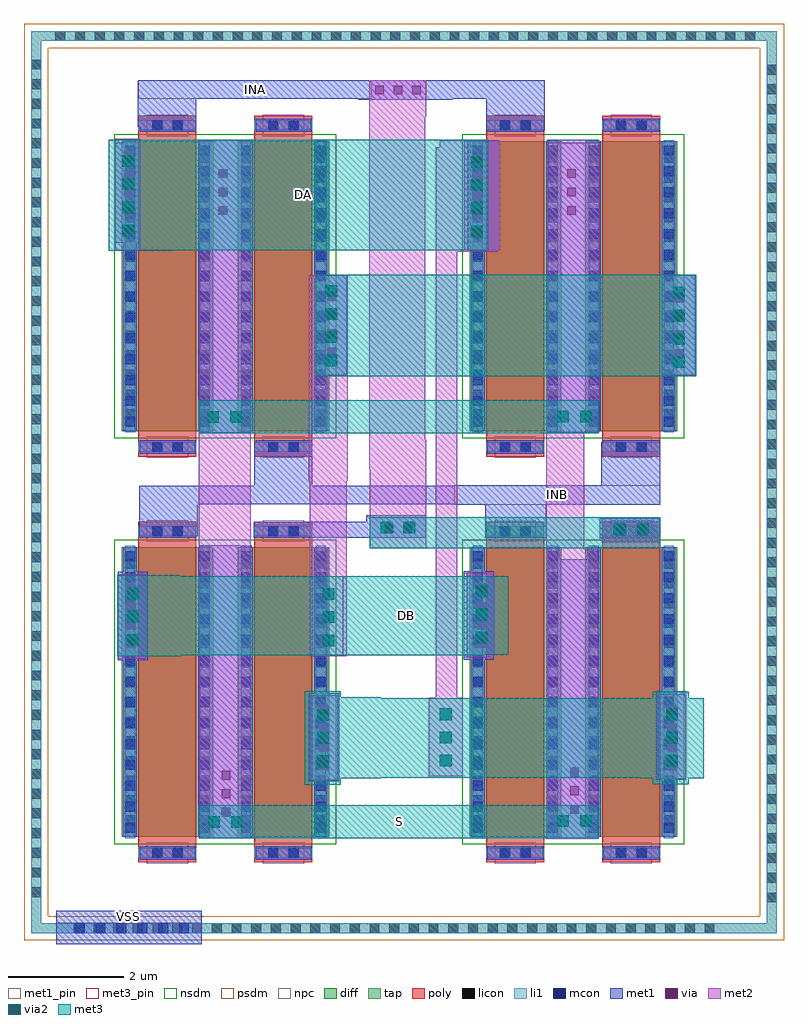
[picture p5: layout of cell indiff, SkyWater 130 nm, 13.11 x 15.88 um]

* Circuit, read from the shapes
.subckt indiff DA DB INA INB S VSS
XM1 S INB DB VSS sky130_fd_pr__nfet_01v8 w=5 l=1 m=4
XM2 S INA DA VSS sky130_fd_pr__nfet_01v8 w=5 l=1 m=4
.ends

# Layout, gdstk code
import gdstk
lib = gdstk.Library(unit=1e-6, precision=1e-09)
def R(c, l, rs):  # rectangles x0, y0, x1, y1
    for r in rs: c.add(gdstk.rectangle(r[:2], r[2:], *l))
def A(c, l, x, y, w, h, nx, ny, dx, dy):  # array of equal rectangles
    R(c, l, [(x+i*dx, y+j*dy, x+i*dx+w, y+j*dy+h) for i in range(nx) for j in range(ny)])
diff = (65, 20)
tap = (65, 44)
poly = (66, 20)
licon = (66, 44)
li1 = (67, 20)
mcon = (67, 44)
met1_pin = (68, 16)
met1 = (68, 20)
via = (68, 44)
met2 = (69, 20)
via2 = (69, 44)
met3_pin = (70, 16)
met3 = (70, 20)
nsdm = (93, 44)
psdm = (94, 20)
npc = (95, 20)

sky130_fd_pr__nfet_01v8_ = lib.new_cell('sky130_fd_pr__nfet_01v8_U654K6')
R(sky130_fd_pr__nfet_01v8_, diff, [(-0.79,-2.5,0.79,2.5)])
R(sky130_fd_pr__nfet_01v8_, poly, [(-0.5,-2.94,0.5,2.94)])
A(sky130_fd_pr__nfet_01v8_, licon, -0.73, -2.295, 0.17, 0.17, 1, 14, 0, 0.34)
A(sky130_fd_pr__nfet_01v8_, licon, 0.56, -2.295, 0.17, 0.17, 1, 14, 0, 0.34)
R(sky130_fd_pr__nfet_01v8_, licon, [(-0.255,-2.86,-0.085,-2.69), (0.085,-2.86,0.255,-2.69), (-0.255,2.69,-0.085,2.86), (0.085,2.69,0.255,2.86)])
R(sky130_fd_pr__nfet_01v8_, li1, [(-0.5,-2.86,0.5,-2.69), (-0.73,-2.52,-0.56,2.52), (0.56,-2.52,0.73,2.52), (-0.5,2.69,0.5,2.86)])
A(sky130_fd_pr__nfet_01v8_, mcon, -0.73, -2.425, 0.17, 0.17, 1, 14, 0, 0.36)
A(sky130_fd_pr__nfet_01v8_, mcon, 0.56, -2.425, 0.17, 0.17, 1, 14, 0, 0.36)
R(sky130_fd_pr__nfet_01v8_, mcon, [(-0.265,-2.86,-0.095,-2.69), (0.095,-2.86,0.265,-2.69), (-0.265,2.69,-0.095,2.86), (0.095,2.69,0.265,2.86)])
R(sky130_fd_pr__nfet_01v8_, met1, [(-0.48,-2.89,0.48,-2.66), (-0.76,-2.5,-0.53,2.5), (0.53,-2.5,0.76,2.5), (-0.48,2.66,0.48,2.89)])
R(sky130_fd_pr__nfet_01v8_, nsdm, [(-0.915,-2.625,0.915,2.625)])
R(sky130_fd_pr__nfet_01v8_, npc, [(-0.355,-2.96,0.355,-2.59), (-0.355,2.59,0.355,2.96)])

indiff = lib.new_cell('indiff')
R(indiff, tap, [(-1.56,-1.22,11.3,-1.05), (-1.56,-1.05,-1.39,14.17), (11.13,-1.05,11.3,14.17), (-1.56,14.17,11.3,14.34)])
A(indiff, licon, -0.825, -1.22, 0.17, 0.17, 33, 1, 0.34, 0)
A(indiff, licon, 11.13, -0.69, 0.17, 0.17, 1, 43, 0, 0.34)
A(indiff, licon, -1.56, -0.6, 0.17, 0.17, 1, 43, 0, 0.34)
A(indiff, licon, -1.145, 14.17, 0.17, 0.17, 36, 1, 0.34, 0)
R(indiff, li1, [(-1.56,-1.22,11.3,-1.05), (-1.56,-1.05,-1.39,14.17), (11.13,-1.05,11.3,14.17), (-1.56,14.17,11.3,14.34)])
A(indiff, mcon, -0.81, -1.22, 0.17, 0.17, 6, 1, 0.36, 0)
R(indiff, met1_pin, [(-1.13,-1.05,1.38,-0.83), (5.74,6.17,9.29,6.51), (0.29,13.17,4.31,13.49)])
R(indiff, met1, [(-1.13,-1.41,1.38,-0.83), (7.34,0.41,8.23,5.23), (1.35,0.42,2.24,5.46), (3.23,1.4,3.75,2.92), (9.22,1.43,9.74,2.95), (-0.07,3.49,0.45,5.01), (5.9,3.5,6.42,5.02), (1.35,5.46,2.05,5.47), (8.25,5.59,9.29,5.94), (2.28,5.6,5.25,5.88), (6.27,5.6,7.32,6.17), (0.33,5.61,1.29,5.63), (0.3,5.63,1.31,6.18), (4.22,5.88,5.25,5.99), (5.74,6.17,9.29,6.18), (0.3,6.18,9.29,6.49), (0.31,6.49,9.29,6.5), (2.29,6.5,3.29,7.24), (5.74,6.5,9.29,6.51), (8.27,6.51,9.29,7.25), (1.34,7.41,2.23,12.46), (7.34,7.42,8.23,12.47), (3.35,8.4,3.88,10.13), (9.36,8.4,9.89,10.13), (5.91,10.56,6.53,12.45), (-0.11,10.69,0.31,12.41), (0.48,12.62,1.29,12.69), (6.29,12.63,7.3,13.17), (0.28,12.69,1.29,13.17), (4.08,13.16,5.71,13.17), (0.28,13.17,7.3,13.48), (0.29,13.48,7.3,13.49)])
A(indiff, via, 1.725, 0.79, 0.15, 0.15, 1, 3, 0, 0.32)
A(indiff, via, 7.735, 0.84, 0.15, 0.15, 1, 3, 0, 0.32)
A(indiff, via, 9.42, 1.59, 0.15, 0.15, 1, 4, 0, 0.32)
A(indiff, via, 3.41, 1.6, 0.15, 0.15, 1, 4, 0, 0.32)
A(indiff, via, 0.08, 3.7, 0.15, 0.15, 1, 4, 0, 0.32)
A(indiff, via, 6.13, 3.7, 0.15, 0.15, 1, 4, 0, 0.32)
A(indiff, via, 9.54, 8.705, 0.15, 0.15, 1, 4, 0, 0.32)
A(indiff, via, 3.555, 8.725, 0.15, 0.15, 1, 4, 0, 0.32)
A(indiff, via, 6.05, 10.79, 0.15, 0.15, 1, 5, 0, 0.32)
A(indiff, via, 0.055, 10.835, 0.15, 0.15, 1, 5, 0, 0.32)
A(indiff, via, 1.675, 11.17, 0.15, 0.15, 1, 3, 0, 0.32)
A(indiff, via, 7.685, 11.17, 0.15, 0.15, 1, 3, 0, 0.32)
A(indiff, via, 4.37, 13.25, 0.15, 0.15, 3, 1, 0.32, 0)
R(indiff, via, [(8.555,5.675,8.705,5.825), (8.875,5.675,9.025,5.825), (4.535,5.69,4.685,5.84), (4.855,5.69,5.005,5.84)])
R(indiff, met2, [(7.32,0.41,8.22,5.39), (1.34,0.42,2.23,4.04), (3.25,1.42,3.73,2.88), (9.26,1.44,9.74,2.9), (5.3,1.49,5.88,2.84), (5.42,2.84,5.79,10.53), (-0.06,3.51,0.42,4.97), (5.95,3.54,6.43,5), (3.24,3.56,3.88,6.58), (1.33,4.04,2.23,8.02), (7.32,5.39,7.98,7.43), (4.28,5.42,5.25,6.79), (8.28,5.52,9.29,5.95), (3.23,6.58,3.9,10.13), (4.27,6.79,5.25,7.29), (4.27,7.29,5.24,12.86), (7.32,7.43,8.25,8.76), (1.34,8.02,2.23,12.46), (9.35,8.4,9.9,10.13), (7.35,8.76,8.25,12.41), (5.42,10.53,6.49,10.56), (-0.11,10.56,0.32,12.48), (5.42,10.56,6.53,12.34), (5.49,12.34,6.53,12.45), (5.49,12.45,6.49,12.46), (4.27,12.86,5.25,13.49)])
A(indiff, via2, 3.375, 1.645, 0.2, 0.2, 1, 3, 0, 0.4)
A(indiff, via2, 5.49, 1.655, 0.2, 0.2, 1, 3, 0, 0.4)
A(indiff, via2, 9.39, 1.655, 0.2, 0.2, 1, 3, 0, 0.4)
A(indiff, via2, 3.47, 3.73, 0.2, 0.2, 1, 3, 0, 0.4)
A(indiff, via2, 0.095, 3.74, 0.2, 0.2, 1, 3, 0, 0.4)
A(indiff, via2, 6.105, 3.78, 0.2, 0.2, 1, 3, 0, 0.4)
A(indiff, via2, 9.515, 8.53, 0.2, 0.2, 1, 4, 0, 0.4)
A(indiff, via2, 3.515, 8.56, 0.2, 0.2, 1, 4, 0, 0.4)
A(indiff, via2, 6.03, 10.785, 0.2, 0.2, 1, 4, 0, 0.4)
A(indiff, via2, 0.015, 10.8, 0.2, 0.2, 1, 4, 0, 0.4)
R(indiff, via2, [(1.49,0.595,1.69,0.795), (1.89,0.595,2.09,0.795), (7.51,0.615,7.71,0.815), (7.91,0.615,8.11,0.815), (8.49,5.65,8.69,5.85), (8.89,5.65,9.09,5.85), (4.465,5.675,4.665,5.875), (4.865,5.675,5.065,5.875), (1.475,7.585,1.675,7.785), (1.875,7.585,2.075,7.785), (7.51,7.59,7.71,7.79), (7.91,7.59,8.11,7.79)])
R(indiff, met3_pin, [(2.15,0.42,7.45,0.99), (3.81,3.57,6.01,4.94), (0.29,10.56,5.98,12.47)])
R(indiff, met3, [(1.33,0.42,8.22,0.99), (3.16,1.34,3.78,1.45), (9.16,1.35,9.78,1.45), (3.16,1.45,4.47,1.46), (8.94,1.45,10.04,1.46), (3.16,1.46,10.04,2.83), (3.16,2.83,4.47,2.85), (9.16,2.83,9.78,2.94), (3.16,2.85,3.78,2.95), (-0.08,3.56,1.01,3.57), (-0.08,3.57,6.26,3.58), (-0.08,3.58,6.67,4.94), (-0.08,4.94,1.01,4.95), (4.28,5.42,9.29,5.95), (1.34,7.4,8.23,7.97), (3.35,8.39,9.91,10.14), (-0.22,10.55,0.86,10.56), (-0.22,10.56,6.32,12.47)])
R(indiff, nsdm, [(1.705,0.315,1.875,5.565), (7.705,0.315,7.875,5.565), (1.705,7.315,1.875,12.565), (7.705,7.315,7.875,12.565)])
R(indiff, psdm, [(-1.685,-1.345,11.425,-0.925), (-1.685,-0.925,-1.265,14.045), (11.005,-0.925,11.425,14.045), (-1.685,14.045,11.425,14.465)])
indiff.add(gdstk.Reference(sky130_fd_pr__nfet_01v8_, (6.79,9.94)))
indiff.add(gdstk.Reference(sky130_fd_pr__nfet_01v8_, (2.79,9.94)))
indiff.add(gdstk.Reference(sky130_fd_pr__nfet_01v8_, (0.79,9.94)))
indiff.add(gdstk.Reference(sky130_fd_pr__nfet_01v8_, (8.79,2.94)))
indiff.add(gdstk.Reference(sky130_fd_pr__nfet_01v8_, (6.79,2.94)))
indiff.add(gdstk.Reference(sky130_fd_pr__nfet_01v8_, (2.79,2.94)))
indiff.add(gdstk.Reference(sky130_fd_pr__nfet_01v8_, (0.79,2.94)))
indiff.add(gdstk.Reference(sky130_fd_pr__nfet_01v8_, (8.79,9.94)))
indiff.add(gdstk.Label('VSS', (0.125,-0.94), layer=68, texttype=5))
indiff.add(gdstk.Label('S', (4.8,0.705), layer=70, texttype=5))
indiff.add(gdstk.Label('INA', (2.3,13.33), layer=68, texttype=5))
indiff.add(gdstk.Label('INB', (7.515,6.34), layer=68, texttype=5))
indiff.add(gdstk.Label('DA', (3.135,11.515), layer=70, texttype=5))
indiff.add(gdstk.Label('DB', (4.91,4.255), layer=70, texttype=5))

lib.write_gds('indiff.gds')
